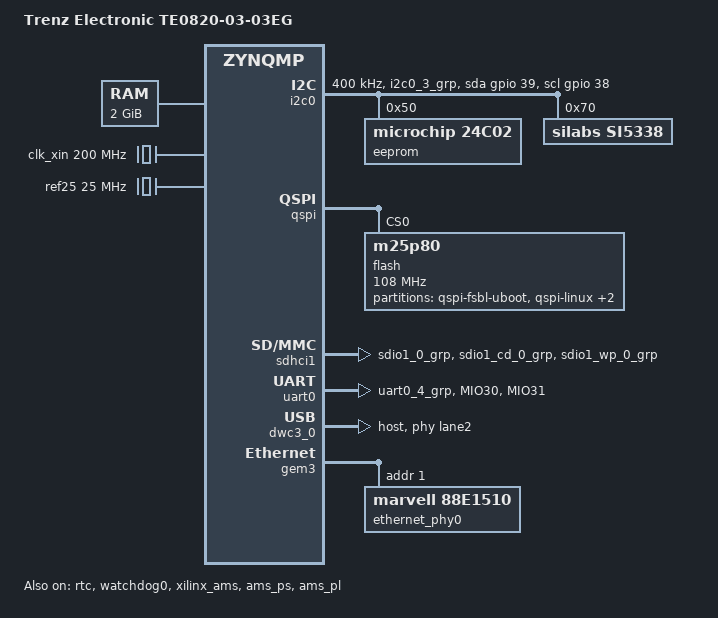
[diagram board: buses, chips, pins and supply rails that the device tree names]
/dts-v1/;

#include "zynqmp.dtsi"
#include "zynqmp-clk-ccf.dtsi"
#include <dt-bindings/input/input.h>
#include <dt-bindings/gpio/gpio.h>
#include <dt-bindings/pinctrl/pinctrl-zynqmp.h>
#include <dt-bindings/phy/phy.h>

/ {
	model = "Trenz Electronic TE0820-03-03EG";
	compatible = "xlnx,te0820-03-03eg", "xlnx,zynqmp";
	#address-cells = <2>;
	#size-cells = <2>;

	aliases {
		ethernet0 = &gem3;
		/*gpio0 = &gpio;*/
		i2c0 = &i2c0;
		mmc0 = &sdhci1;
		mmc1 = &sdhci0;
		rtc0 = &rtc;
		serial0 = &uart0;
		/*serial1 = &dcc;*/
		spi0 = &qspi;
		/*usb0 = &usb0;*/
	};

	chosen {
		bootargs = "earlycon";
		stdout-path = "serial0:115200n8";
		xlnx,eeprom = &eeprom;
	};

	memory@0 {
		device_type = "memory";
		reg = <0x0 0x0 0x0 0x7ff00000>;
	};

	dcc: dcc {
		compatible = "arm,dcc";
		status = "disabled";
		u-boot,dm-pre-reloc;
	};

	clk_xin: clk_xin {
		compatible = "fixed-clock";
		#clock-cells = <0>;
		clock-frequency = <200000000>;
	};

	ref25: ref25M {
		compatible = "fixed-clock";
		#clock-cells = <0>;
		clock-frequency = <25000000>;
	};
};

&dcc {
	status = "okay";
};

&fpd_dma_chan1 {
	status = "okay";
};

&fpd_dma_chan2 {
	status = "okay";
};

&fpd_dma_chan3 {
	status = "okay";
};

&fpd_dma_chan4 {
	status = "okay";
};

&fpd_dma_chan5 {
	status = "okay";
};

&fpd_dma_chan6 {
	status = "okay";
};

&fpd_dma_chan7 {
	status = "okay";
};

&fpd_dma_chan8 {
	status = "okay";
};

&gpio {
	status = "okay";
	pinctrl-names = "default";
	pinctrl-0 = <&pinctrl_gpio_default>;
};

/*&gpu {
	status = "okay";
};

ref25: ref25M {
	compatible = "fixed-clock";
	#clock-cells = <0>;
	clock-frequency = <25000000>;
};*/

&i2c0 {
	status = "okay";
	clock-frequency = <400000>;
	pinctrl-names = "default", "gpio";
	pinctrl-0 = <&pinctrl_i2c0_default>;
	pinctrl-1 = <&pinctrl_i2c0_gpio>;
	scl-gpios = <&gpio 38 GPIO_ACTIVE_HIGH>;
	sda-gpios = <&gpio 39 GPIO_ACTIVE_HIGH>;

	/* U25
	Microchip 24AA025E48T-I/OT
	2kb (256 Byte) EEPROM
	16 Byte Pages
	*/
	eeprom: eeprom@50 {
		compatible = "microchip,24c02";
		pagesize = <16>;
		reg = <0x50>;
		/* read-only */

		/* 
		Designate the last 6 bytes of the EEPROM to
		the MAC address.
		*/
		mac_addr: mac_addr@fa{
			reg = <0xFA 0x6>;
		};
	};

	/* U10
	SI5338A-B-GMR
	Clock Generator
	*/
	si5338: clock-generator@38 {
		compatible = "silabs,si5338";
		reg = <0x70>;
		#address-cells = <1>;
		#size-cells = <0>;
		#clock-cells = <1>;

		/* Connect IN3 to 25Mhz clock */
		clocks = <0>, <&ref25>, <0>, <0>, <0>;
		clock-names = "in12", "in3", "in4", "in5", "in6";

		/* Set the reference clock to the 25Mhz */
		silab,ref-source = <SI5338_REF_SRC_CLKIN3>;

		/* output */
		clkout0 {
			reg = <0>;
			silabs,drive-config = "1V8_LVDS";
			silabs,clock-source = <SI5338_OUT_MUX_MS0>;
			silabs,disable-state = <SI5338_OUT_DIS_HIZ>;
			clock-frequency = <125000000>;
		};
		clkout1 {
			reg = <1>;
			silabs,drive-config = "1V8_LVDS";
			silabs,clock-source = <SI5338_OUT_MUX_MSN>;
			silabs,disable-state = <SI5338_OUT_DIS_HIZ>;
			clock-frequency = <125000000>;
		};
		clkout2 {
			reg = <2>;
			silabs,drive-config = "1V8_LVDS";
			silabs,clock-source = <SI5338_OUT_MUX_MSN>;
			silabs,disable-state = <SI5338_OUT_DIS_HIZ>;
			clock-frequency = <125000000>;
		};
	};	
};

&pinctrl0 {
	status = "okay";
	pinctrl_i2c0_default: i2c0-default {
		mux {
			groups = "i2c0_3_grp";
			function = "i2c0";
		};

		conf {
			groups = "i2c0_3_grp";
			bias-pull-up;
			slew-rate = <SLEW_RATE_SLOW>;
			io-standard = <IO_STANDARD_LVCMOS18>;
		};
	};

	pinctrl_i2c0_gpio: i2c0-gpio {
		mux {
			groups = "gpio0_38_grp", "gpio0_39_grp";
			function = "gpio0";
		};

		conf {
			groups = "gpio0_38_grp", "gpio0_39_grp";
			slew-rate = <SLEW_RATE_SLOW>;
			io-standard = <IO_STANDARD_LVCMOS18>;
		};
	};

	pinctrl_uart0_default: uart0-default {
		mux {
			groups = "uart0_4_grp";
			function = "uart0";
		};

		conf {
			groups = "uart0_4_grp";
			slew-rate = <SLEW_RATE_SLOW>;
			io-standard = <IO_STANDARD_LVCMOS18>;
		};

		conf-rx {
			pins = "MIO30";
			bias-high-impedance;
		};

		conf-tx {
			pins = "MIO31";
			bias-disable;
		};
	};

	pinctrl_usb0_default: usb0-default {
		mux {
			groups = "usb0_0_grp";
			function = "usb0";
		};

		conf {
			groups = "usb0_0_grp";
			slew-rate = <SLEW_RATE_SLOW>;
			io-standard = <IO_STANDARD_LVCMOS18>;
		};

		conf-rx {
			pins = "MIO52", "MIO53", "MIO55";
			bias-high-impedance;
		};

		conf-tx {
			pins = "MIO54", "MIO56", "MIO57", "MIO58", "MIO59",
			       "MIO60", "MIO61", "MIO62", "MIO63";
			bias-disable;
		};
	};

	pinctrl_gem3_default: gem3-default {
		mux {
			function = "ethernet3";
			groups = "ethernet3_0_grp";
		};

		conf {
			groups = "ethernet3_0_grp";
			slew-rate = <SLEW_RATE_SLOW>;
			io-standard = <IO_STANDARD_LVCMOS18>;
		};

		conf-rx {
			pins = "MIO70", "MIO71", "MIO72", "MIO73", "MIO74",
									"MIO75";
			bias-high-impedance;
			low-power-disable;
		};

		conf-tx {
			pins = "MIO64", "MIO65", "MIO66", "MIO67", "MIO68",
									"MIO69";
			bias-disable;
			low-power-enable;
		};

		mux-mdio {
			function = "mdio3";
			groups = "mdio3_0_grp";
		};

		conf-mdio {
			groups = "mdio3_0_grp";
			slew-rate = <SLEW_RATE_SLOW>;
			io-standard = <IO_STANDARD_LVCMOS18>;
			bias-disable;
		};
	};

	pinctrl_sdhci1_default: sdhci1-default {
		mux {
			groups = "sdio1_0_grp";
			function = "sdio1";
		};

		conf {
			groups = "sdio1_0_grp";
			slew-rate = <SLEW_RATE_SLOW>;
			io-standard = <IO_STANDARD_LVCMOS18>;
			bias-disable;
		};

		mux-cd {
			groups = "sdio1_cd_0_grp";
			function = "sdio1_cd";
		};

		conf-cd {
			groups = "sdio1_cd_0_grp";
			bias-high-impedance;
			bias-pull-up;
			slew-rate = <SLEW_RATE_SLOW>;
			io-standard = <IO_STANDARD_LVCMOS18>;
		};

		mux-wp {
			groups = "sdio1_wp_0_grp";
			function = "sdio1_wp";
		};

		conf-wp {
			groups = "sdio1_wp_0_grp";
			bias-high-impedance;
			bias-pull-up;
			slew-rate = <SLEW_RATE_SLOW>;
			io-standard = <IO_STANDARD_LVCMOS18>;
		};
	};

	pinctrl_gpio_default: gpio-default {
		mux-sw {
			function = "gpio0";
			groups = "gpio0_24_grp", "gpio0_25_grp";
		};

		conf-sw {
			groups = "gpio0_24_grp", "gpio0_25_grp";
			slew-rate = <SLEW_RATE_SLOW>;
			io-standard = <IO_STANDARD_LVCMOS18>;
		};

		conf-pull-up {
			pins = "MIO24", "MIO25";
			bias-pull-up;
		};
	};
};

&qspi {
	status = "okay";
	is-dual = <1>;
	flash@0 {
		compatible = "m25p80", "spi-flash"; /* 32MB */
		#address-cells = <1>;
		#size-cells = <1>;
		reg = <0x0>;
		spi-tx-bus-width = <1>;
		spi-rx-bus-width = <4>; /* FIXME also DUAL configuration possible */
		spi-max-frequency = <108000000>; /* Based on DC1 spec */
		partition@qspi-fsbl-uboot { /* for testing purpose */
			label = "qspi-fsbl-uboot";
			reg = <0x0 0x100000>;
		};
		partition@qspi-linux { /* for testing purpose */
			label = "qspi-linux";
			reg = <0x100000 0x500000>;
		};
		partition@qspi-device-tree { /* for testing purpose */
			label = "qspi-device-tree";
			reg = <0x600000 0x20000>;
		};
		partition@qspi-rootfs { /* for testing purpose */
			label = "qspi-rootfs";
			reg = <0x620000 0x5E0000>;
		};
	};
};

&rtc {
	status = "okay";
};

/* eMMC Card */
&sdhci0 {
	status = "disabled";
	bus-width = <0x8>;
	pinctrl-names = "default";
	pinctrl-0 = <&pinctrl_sdhci0_default>;
	xlnx,mio_bank = <0>;
	non-removable;
	disable-wp;
	cap-mmc-hw-reset;
};

/* SD1 with level shifter */
&sdhci1 {
	status = "okay";
	pinctrl-names = "default";
	pinctrl-0 = <&pinctrl_sdhci1_default>;
	no-1-8-v;
	xlnx,mio_bank = <0>;
};

&uart0 {
	status = "okay";
	pinctrl-names = "default";
	pinctrl-0 = <&pinctrl_uart0_default>;
};

/* ULPI SMSC USB3320 */
/*&usb0 {
	status = "okay";
	pinctrl-names = "default";
	pinctrl-0 = <&pinctrl_usb0_default>;
};*/

&dwc3_0 {
	status = "okay";
	dr_mode = "host";
	snps,usb3_lpm_capable;
	phy-names = "usb3-phy";
	phys = <&lane2 PHY_TYPE_USB3 0 2 26000000>;
	maximum-speed = "super-speed";
};

&watchdog0 {
	status = "okay";
};

&xilinx_ams {
	status = "okay";
};

&ams_ps {
	status = "okay";
};

&ams_pl {
	status = "okay";
};

/* ETH PHY */
&gem3 {
	status = "okay";
    ethernet_phy0: ethernet-phy@0 {
	    compatible = "marvell,88e1510";
		device_type = "ethernet-phy";
		nvmem-cells = <&mac_addr>;
		nvmem-cell-names = "mac-address";
    	reg = <1>;
	};
};
